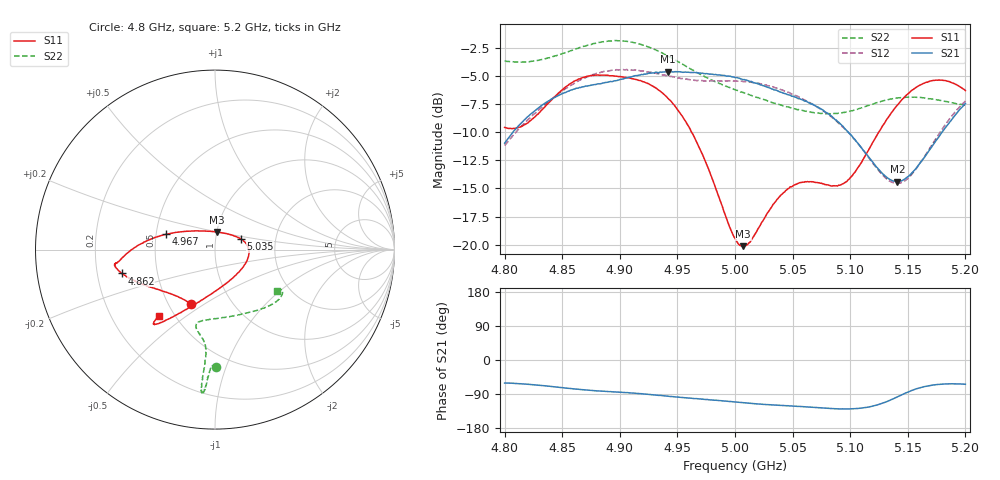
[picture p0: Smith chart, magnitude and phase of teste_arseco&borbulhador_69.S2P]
! Network Analyzer HP8722D
! Hewlett-Packard
! Data name: Linha & Wilkinson
! Saver's name: Rodrigo Anjos
! Comments: Teste da utilização de aquisição
! continua pelo VNA HP8722D
! Time and date: 15/4/2025 16:12
!  Frequency  S11  S21  S12  S22
# HZ  S  MA R 50
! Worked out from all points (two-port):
!   401 points, 4.8 GHz to 5.2 GHz, reference 50 ohm
!   highest |S21| = -4.64 dB at 4.942 GHz (marker M1); lowest = -14.4 dB at 5.141 GHz (marker M2)
!   |S21| within 3 dB of the highest: 4.832 GHz to 5.069 GHz (237.2 MHz wide, 4.79 % of centre); 5.198408 GHz to end of sweep
!   lowest |S11| = -20.1 dB at 5.007 GHz (marker M3), VSWR 1.22, Z = 50.2 + j9.93 ohm
!   |S11| at or under -10 dB: 4.962 GHz to 5.125 GHz (162.6 MHz wide, 3.22 % of centre)
!   |S22| runs from -8.4 to -1.9 dB; largest |S21 - S12| = 0.88
!   S11 on the Smith chart (normalised r, x): 4.8 GHz: 0.65, -0.44; 4.862 GHz: 0.31, -0.11; 4.967 GHz: 0.57, +0.11; 5.035 GHz: 1.32, +0.16; 5.2 GHz: 0.41, -0.40
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4.8e9  0.3317 -113.8  0.2824 -60.8  0.2758 -175.1  0.6533 -89.6
4.819e9  0.3447 -133.7  0.3655 -63.8  0.3537 -173.3  0.6483 -91.1
4.862e9  0.5363 -165.7  0.4942 -76.7  0.5255 -176.4  0.74 -93.6
4.867e9  0.55 -167.6  0.5008 -78.2  0.5429 -177.3  0.7543 -93.7
4.898e9  0.5588 -172.1  0.5363 -84.5  0.5973 176.0  0.8037 -94.9
4.914e9  0.5415 -173.0  0.5628 -87.9  0.595 173.5  0.7856 -95.5
4.934e9  0.4846 -178.0  0.581 -93.4  0.5731 171.9  0.7183 -95.6
4.942e9  0.446 178.4  0.586 -95.7  0.5613 171.9  0.6862 -95.4
4.967e9  0.284 162.4  0.5792 -102.1  0.5342 173.9  0.5804 -94.9
5e9  0.1069 106.9  0.5522 -110.9  0.5334 176.3  0.4872 -99.3
5.007e9  0.09864 83.0  0.54 -112.7  0.5293 176.4  0.4735 -100.9
5.014e9  0.1045 61.1  0.5306 -114.5  0.526 176.2  0.4599 -102.6
5.035e9  0.155 22.7  0.4857 -119.0  0.497 175.1  0.4234 -103.9
5.05e9  0.182 6.8  0.4558 -121.6  0.4646 174.5  0.4032 -100.4
5.067e9  0.1905 -11.3  0.4205 -124.6  0.4223 174.0  0.3867 -91.8
5.087e9  0.1825 -43.8  0.3586 -128.6  0.3581 173.9  0.3822 -76.9
5.098e9  0.1938 -67.2  0.3178 -129.0  0.3166 174.4  0.3893 -67.7
5.134e9  0.3737 -116.2  0.1954 -106.8  0.1917 -159.7  0.4418 -43.4
5.141e9  0.417 -120.1  0.1907 -97.0  0.1873 -148.8  0.4482 -40.3
5.154e9  0.4864 -125.2  0.2095 -79.8  0.2073 -128.7  0.4517 -35.7
5.171e9  0.5339 -128.8  0.2732 -66.6  0.2771 -112.4  0.4431 -31.8
5.2e9  0.4827 -130.4  0.4233 -64.0  0.4341 -106.2  0.4155 -33.4
